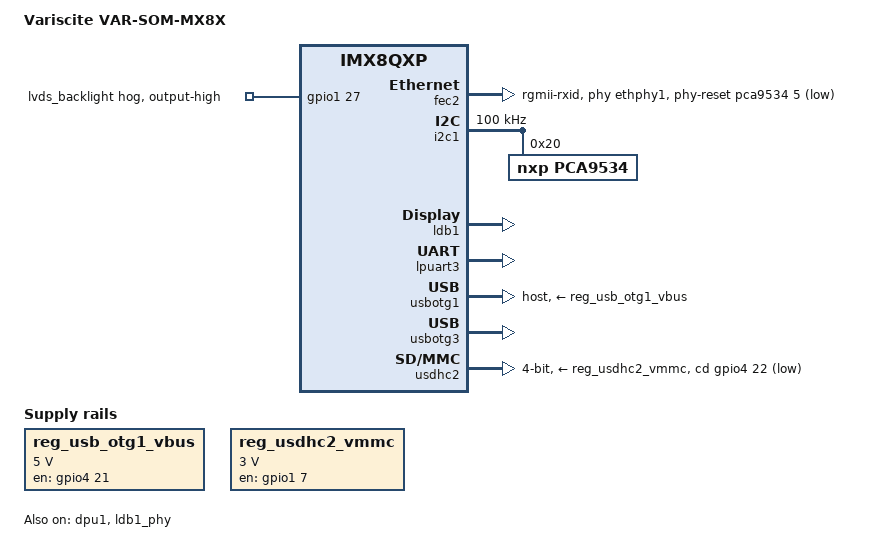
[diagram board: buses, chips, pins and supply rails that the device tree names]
// SPDX-License-Identifier: GPL-2.0+
/*
 * Copyright 2017-2018 NXP
 * Copyright 2019-2020 Variscite Ltd.
 */

/dts-v1/;

#include "fsl-imx8qxp-var-som.dtsi"

/ {
	model = "Variscite VAR-SOM-MX8X";
	compatible = "variscite,var-som-mx8x", "fsl,imx8qxp";

	aliases {
		gpio8 = &pca9534;
	};

	chosen {
		stdout-path = &lpuart3;
	};

	regulators {
		reg_usb_otg1_vbus: regulator-usb-otg1-vbus {
			compatible = "regulator-fixed";
			regulator-name = "usb_otg1_vbus";
			regulator-min-microvolt = <5000000>;
			regulator-max-microvolt = <5000000>;
			gpio = <&gpio4 21 GPIO_ACTIVE_HIGH>;
			enable-active-high;
		};

		reg_usdhc2_vmmc: usdhc2_vmmc {
			compatible = "regulator-fixed";
			regulator-name = "reg_sd_pwr";
			regulator-min-microvolt = <3000000>;
			regulator-max-microvolt = <3000000>;
			gpio = <&gpio1 7 GPIO_ACTIVE_HIGH>;
			enable-active-high;
			startup-delay-us = <100>;
			off-on-delay-us = <12000>;
		};
	};
};

&dpu1 {
	status = "okay";
};

&fec2 {
	pinctrl-names = "default";
	pinctrl-0 = <&pinctrl_fec2>;
	phy-mode = "rgmii-rxid";
	phy-handle = <&ethphy1>;
	fsl,ar8031-phy-fixup;
	fsl,magic-packet;
	status = "okay";
	phy-reset-gpios = <&pca9534 5 GPIO_ACTIVE_LOW>;
	phy-reset-duration = <10>;
	phy-reset-post-delay = <100>;
};

&gpio1 {
	pinctrl-names = "default";
	pinctrl-0 = <&pinctrl_backlight>;

	lvds_backlight_hog {
		gpio-hog;
		gpios = <27 0>;
		output-high;
		line-name = "lvds_backlight";
	};
};

&i2c1 {
	#address-cells = <1>;
	#size-cells = <0>;
	clock-frequency = <100000>;
	pinctrl-names = "default";
	pinctrl-0 = <&pinctrl_lpi2c1>;
	status = "okay";

	/* GPIO expander */
	pca9534: gpio@20 {
		compatible = "nxp,pca9534";
		reg = <0x20>;
		gpio-controller;
		#gpio-cells = <2>;
		status = "okay";

		usb3_sel_hog {
			gpio-hog;
			gpios = <4 0>;
			output-low;
			line-name = "usb3_sel";
		};

		eth1_phy_rst_hog {
			gpio-hog;
			gpios = <5 0>;
			output-high;
			line-name = "eth1_phy_rst";
		};

		eth1_phy_vsel_hog {
			gpio-hog;
			gpios = <6 0>;
			output-high;
			line-name = "eth1_phy_vsel";
		};

		eth1_phy_pwr_hog {
			gpio-hog;
			gpios = <7 0>;
			output-high;
			line-name = "eth1_phy_pwr";
		};
	};
};

&iomuxc {
	imx8qxp-var-som {
		pinctrl_backlight: backlightgrp {
			fsl,pins = <
				SC_P_MIPI_DSI0_GPIO0_00_LSIO_GPIO1_IO27		0x00000020
			>;
		};

		pinctrl_fec2: fec2grp {
			fsl,pins = <
				SC_P_ESAI0_SCKR_CONN_ENET1_RGMII_TX_CTL		0x00000060
				SC_P_ESAI0_FSR_CONN_ENET1_RGMII_TXC		0x00000060
				SC_P_ESAI0_TX4_RX1_CONN_ENET1_RGMII_TXD0	0x00000060
				SC_P_ESAI0_TX5_RX0_CONN_ENET1_RGMII_TXD1	0x00000060
				SC_P_ESAI0_FST_CONN_ENET1_RGMII_TXD2		0x00000060
				SC_P_ESAI0_SCKT_CONN_ENET1_RGMII_TXD3		0x00000060
				SC_P_ESAI0_TX0_CONN_ENET1_RGMII_RXC		0x00000060
				SC_P_SPDIF0_TX_CONN_ENET1_RGMII_RX_CTL		0x00000060
				SC_P_SPDIF0_RX_CONN_ENET1_RGMII_RXD0		0x00000060
				SC_P_ESAI0_TX3_RX2_CONN_ENET1_RGMII_RXD1	0x00000060
				SC_P_ESAI0_TX2_RX3_CONN_ENET1_RGMII_RXD2	0x00000060
				SC_P_ESAI0_TX1_CONN_ENET1_RGMII_RXD3		0x00000060
			>;
		};

		pinctrl_lpi2c1: lpi2c1grp {
			fsl,pins = <
				SC_P_USB_SS3_TC0_ADMA_I2C1_SCL			0x06000021
				SC_P_USB_SS3_TC2_ADMA_I2C1_SDA			0x06000021
			>;
		};

		pinctrl_lpuart3: lpuart3grp {
			fsl,pins = <
				SC_P_SCU_GPIO0_00_ADMA_UART3_RX			0x06000020
				SC_P_SCU_GPIO0_01_ADMA_UART3_TX			0x06000020
			>;
		};

		pinctrl_usb1otg: usb1otggrp {
			fsl,pins = <
				SC_P_USDHC1_WP_LSIO_GPIO4_IO21			0xC0000041
			>;
		};

		pinctrl_usdhc2_gpio: usdhc2gpiogrp {
			fsl,pins = <
				SC_P_USDHC1_CD_B_LSIO_GPIO4_IO22		0x00000021
				SC_P_SPI0_CS1_LSIO_GPIO1_IO07			0x00000021
			>;
		};

		pinctrl_usdhc2: usdhc2grp {
			fsl,pins = <
				SC_P_USDHC1_CLK_CONN_USDHC1_CLK			0x06000041
				SC_P_USDHC1_CMD_CONN_USDHC1_CMD			0x00000021
				SC_P_USDHC1_DATA0_CONN_USDHC1_DATA0		0x00000021
				SC_P_USDHC1_DATA1_CONN_USDHC1_DATA1		0x00000021
				SC_P_USDHC1_DATA2_CONN_USDHC1_DATA2		0x00000021
				SC_P_USDHC1_DATA3_CONN_USDHC1_DATA3		0x00000021
				SC_P_USDHC1_VSELECT_CONN_USDHC1_VSELECT		0x00000021
			>;
		};
	};
};

&ldb1_phy {
	status = "okay";
};

&ldb1 {
	status = "okay";

	lvds-channel@0 {
		fsl,data-mapping = "jeida";
		fsl,data-width = <24>;
		status = "okay";

		display-timings {
			native-mode = <&timing0>;

			timing0: timing0 {
				clock-frequency = <29232000>;
				hactive = <800>;
				vactive = <480>;
				hback-porch = <40>;
				hfront-porch = <40>;
				vback-porch = <29>;
				vfront-porch = <13>;
				hsync-len = <48>;
				vsync-len = <3>;
			};
		};
	};
};

/* Console */
&lpuart3 {
	pinctrl-names = "default";
	pinctrl-0 = <&pinctrl_lpuart3>;
	status = "okay";
};

&usbotg1 {
	dr_mode = "host";
	pinctrl-names = "default";
	pinctrl-0 = <&pinctrl_usb1otg>;
	vbus-supply = <&reg_usb_otg1_vbus>;
	srp-disable;
	hnp-disable;
	adp-disable;
	power-polarity-active-high;
	disable-over-current;
	status = "okay";
};

&usbotg3 {
	status = "okay";
};

&usdhc2 {
	pinctrl-names = "default", "state_100mhz", "state_200mhz";
	pinctrl-0 = <&pinctrl_usdhc2>, <&pinctrl_usdhc2_gpio>;
	pinctrl-1 = <&pinctrl_usdhc2>, <&pinctrl_usdhc2_gpio>;
	pinctrl-2 = <&pinctrl_usdhc2>, <&pinctrl_usdhc2_gpio>;
	bus-width = <4>;
	cd-gpios = <&gpio4 22 GPIO_ACTIVE_LOW>;
	vmmc-supply = <&reg_usdhc2_vmmc>;
	status = "okay";
};
